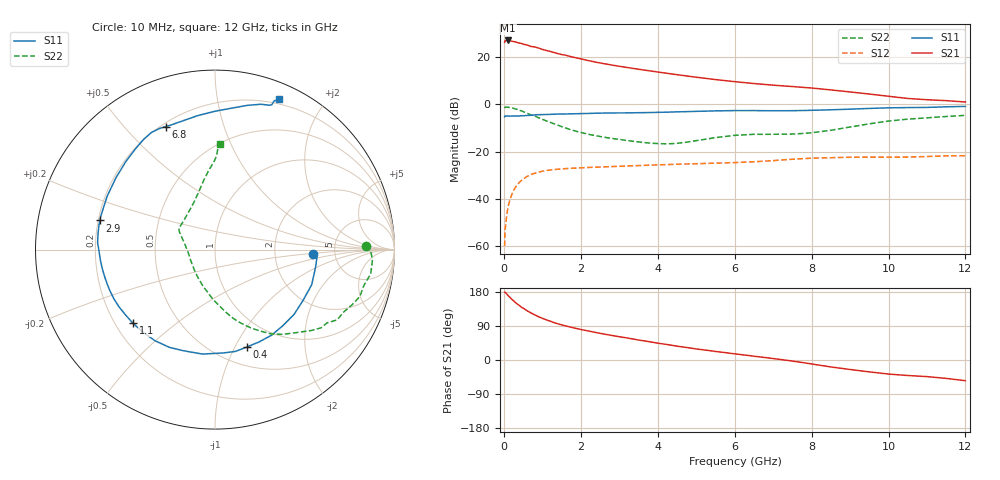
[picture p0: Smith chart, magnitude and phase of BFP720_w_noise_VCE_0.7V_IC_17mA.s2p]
! Infineon Technologies  Discrete & RF Semiconductors
! BFP720
! VCE =  0.7 V,  IC =  17 mA
! Common Emitter S-Parameters:  Aug 2012
# GHz  S  MA  R  50
!  f  S11  S21  S12  S22
! GHz  MAG  ANG  MAG  ANG  MAG  ANG  MAG  ANG
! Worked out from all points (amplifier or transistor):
!   105 points, 10 MHz to 12 GHz, reference 50 ohm
!   highest |S21| = 27.1 dB at 100 MHz (marker M1)
!   |S21| within 3 dB of that: start of sweep to 849.8 MHz
!   unconditionally stable (mu >= 1): start of sweep to 60.32 MHz; 3.383 GHz to 12 GHz
!   at 300 MHz: K = 0.31, MSG = 30.7 dB, |S12| = -34.9 dB
!   at 3.6 GHz: K = 1.04, MAG = 19.0 dB, |S12| = -25.8 dB
!   at 12 GHz: K = 1.00, MSG = 11.4 dB, |S12| = -21.7 dB
!   lowest NFmin = 0.67 dB at 450 MHz
!   S11 on the Smith chart (normalised r, x): 10 MHz: 3.41, -0.23; 400 MHz: 0.69, -1.12; 1.1 GHz: 0.27, -0.36; 2.9 GHz: 0.21, +0.12; 6.8 GHz: 0.22, +0.65; 12 GHz: 0.15, +1.51
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0.01  0.5486 -2.5  20.62 178.9  0.001 -1.9  0.8398 1.5
0.02  0.5695 -3.8  22.33 179.1  0.002 46.3  0.8705 -1.3
0.1  0.5732 -20.1  22.66 170.2  0.0067 70.9  0.8779 -8.9
0.2  0.5697 -39.3  21.85 159.9  0.0126 68.9  0.8486 -17.9
0.3  0.5717 -56.6  21.06 150.7  0.018 63.2  0.7971 -25.8
0.4  0.5711 -72.0  19.87 143.5  0.0227 58.3  0.7456 -33.2
0.45  0.5786 -78.6  19.56 139.0  0.0247 56.3  0.7345 -36.4
0.6  0.5862 -96.8  18.09 129.7  0.0301 49.3  0.6474 -45.6
0.7  0.5904 -107.5  16.89 124.0  0.033 45.6  0.6043 -51.4
0.8  0.6009 -114.9  16.47 118.9  0.0351 42.3  0.5653 -56.2
1.1  0.6143 -138.0  13.86 105.7  0.04 34.0  0.4475 -69.0
1.5  0.6285 -158.5  11.36 92.6  0.0433 26.9  0.3385 -82.1
1.8  0.6352 -168.8  9.99 84.9  0.0449 23.5  0.282 -91.4
2.1  0.6431 -176.9  8.829 78.4  0.046 21.2  0.2437 -99.2
2.9  0.6616 165.8  6.628 63.1  0.0488 17.2  0.1862 -119.3
4.1  0.6836 142.3  4.735 42.9  0.053 13.1  0.1476 -157.7
5  0.7152 128.3  3.771 29.1  0.0557 10.3  0.1715 169.5
6.1  0.7421 117.8  2.984 15.0  0.0593 8.4  0.2242 152.7
6.8  0.7383 111.8  2.643 6.4  0.0633 7.5  0.2335 147.0
8.5  0.7717 89.7  2.032 -18.3  0.0747 -2.6  0.2844 115.0
10.5  0.8593 69.4  1.341 -40.9  0.0769 -13.4  0.4891 90.7
12  0.9099 66.8  1.127 -54.6  0.0822 -21.3  0.5877 87.1
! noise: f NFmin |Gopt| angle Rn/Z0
0.45  0.67  0.19  1  0.39
1.8  0.74  0.2  11  0.14
2.4  0.79  0.19  17  0.43
5.5  1.01  0.11  -46  0.18
10  1.18  0.45  -73  0.29
